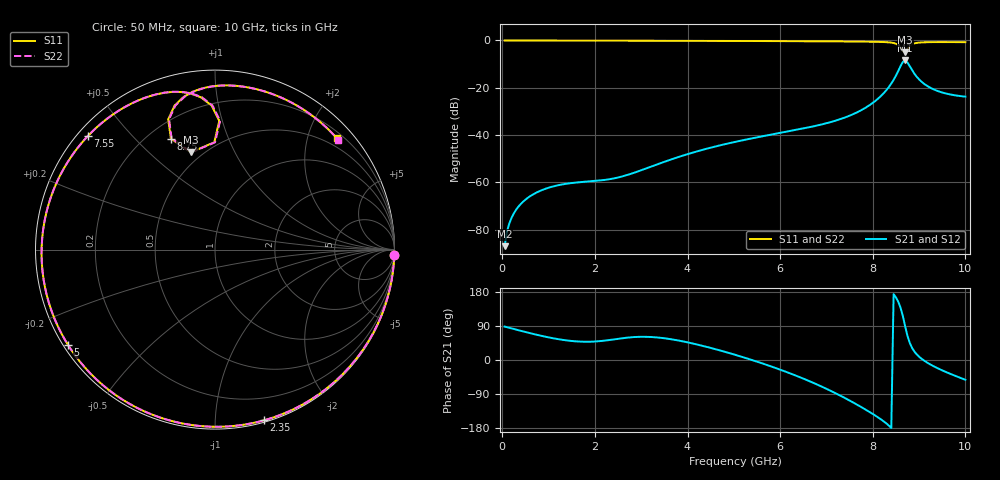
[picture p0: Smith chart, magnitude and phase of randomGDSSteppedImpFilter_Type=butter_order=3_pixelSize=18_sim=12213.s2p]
! freq	dB(S11)	phase(S11)	dB(S12)	phase(S12)
!  dB(S21)	phase(S21)	dB(S22)	phase(S22)
!S-par simulation data
#  GHz  S  DB  R 50
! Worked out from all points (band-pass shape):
!   200 points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, 50 MHz to 10 GHz, reference 50 ohm
!   highest |S21| = -8.46 dB at 8.7 GHz (marker M1); lowest = -86.9 dB at 50 MHz (marker M2)
!   |S21| within 3 dB of the highest: 8.585 GHz to 8.815 GHz (230.3 MHz wide, 2.65 % of centre)
!   lowest |S11| = -5.1 dB at 8.7 GHz (marker M3), VSWR 3.53, Z = 21.8 + j34.3 ohm
!   |S11| at or under -10 dB: nowhere
!   |S22| runs from -5.1 to 0.0 dB; largest |S21 - S12| = 0
!   S11 on the Smith chart (normalised r, x): 50 MHz: 1, -68; 2.35 GHz: 0.01, -1.33; 5 GHz: 0.01, -0.30; 7.55 GHz: 0.03, +0.38; 8.75 GHz: 0.29, +0.64; 10 GHz: 0.32, +2.54
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0.05  -0.00 -1.7  -86.93 88.2  -86.93 88.2  -0.00 -1.7
0.1  -0.01 -3.3  -80.92 86.6  -80.92 86.6  -0.01 -3.3
0.35  -0.01 -11.5  -70.19 78.6  -70.19 78.6  -0.01 -11.5
0.65  -0.02 -21.3  -65.22 69.3  -65.22 69.3  -0.02 -21.3
1.1  -0.04 -35.7  -61.67 57.3  -61.67 57.3  -0.04 -35.7
1.75  -0.07 -56.0  -59.77 48.2  -59.77 48.2  -0.07 -56.0
2.35  -0.09 -74.1  -58.52 53.4  -58.52 53.4  -0.09 -74.1
3.4  -0.13 -104.0  -51.98 58.8  -51.98 58.8  -0.13 -104.1
5  -0.21 -147.1  -42.98 14.8  -42.98 14.8  -0.21 -147.2
5.05  -0.21 -148.5  -42.77 12.9  -42.77 12.9  -0.21 -148.5
5.9  -0.27 -171.5  -39.45 -21.0  -39.45 -21.0  -0.27 -171.6
6.7  -0.34 165.6  -36.38 -59.4  -36.38 -59.4  -0.34 165.4
7.55  -0.45 138.4  -31.38 -110.3  -31.38 -110.3  -0.45 138.1
8  -0.55 121.5  -26.39 -142.4  -26.39 -142.4  -0.55 121.3
8.35  -0.82 105.2  -19.61 -173.4  -19.61 -173.4  -0.82 104.9
8.5  -1.39 95.3  -14.88 165.1  -14.88 165.1  -1.39 94.9
8.6  -2.88 88.1  -10.82 138.1  -10.82 138.1  -2.88 87.7
8.7  -5.06 103.9  -8.46 88.6  -8.46 88.6  -5.07 103.6
8.75  -3.55 111.7  -9.35 63.3  -9.35 63.3  -3.55 111.3
8.9  -1.22 101.6  -14.10 22.1  -14.10 22.1  -1.22 101.2
9.15  -0.75 85.8  -18.90 -5.0  -18.90 -5.0  -0.75 85.3
10  -0.73 42.4  -23.74 -52.1  -23.74 -52.1  -0.73 41.8
